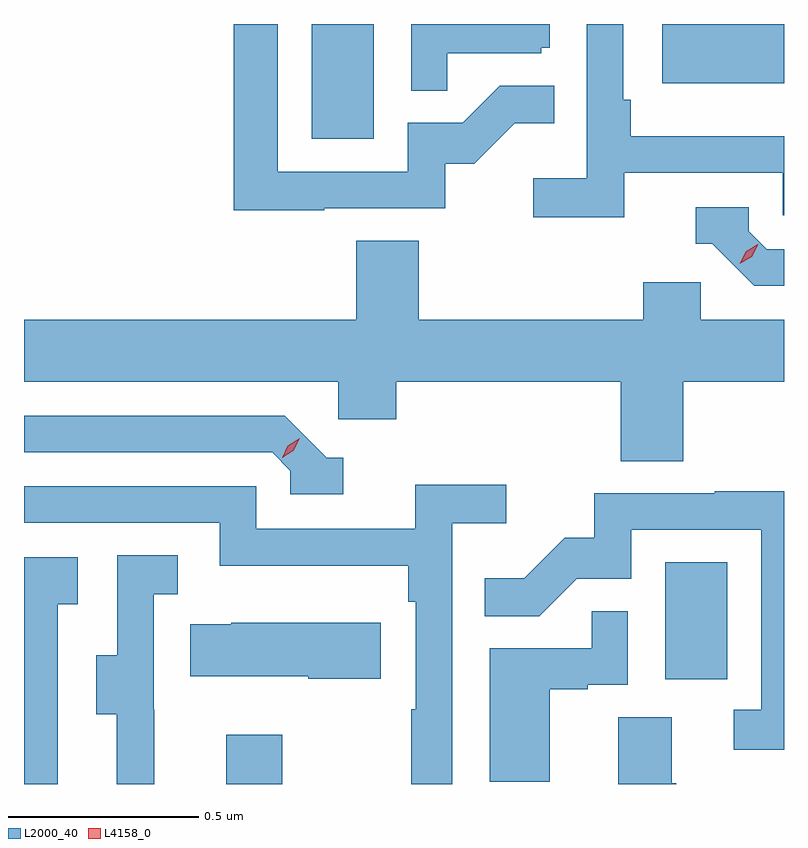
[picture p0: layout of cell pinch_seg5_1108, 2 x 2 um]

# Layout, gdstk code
import gdstk
lib = gdstk.Library(unit=1e-6, precision=1e-09)
def R(c, l, rs):  # rectangles x0, y0, x1, y1
    for r in rs: c.add(gdstk.rectangle(r[:2], r[2:], *l))
def P(c, l, *ps):  # polygons
    for p in ps: c.add(gdstk.Polygon(p, *l))
L2000_40 = (2000, 40)
L4158_0 = (4158, 0)

pinch_seg5_1108 = lib.new_cell('pinch_seg5_1108')
R(pinch_seg5_1108, L2000_40, [(868.169,865.026,868.317,865.156), (869.324,865.302,869.488,865.609), (868.394,866.724,868.558,867.026), (869.316,866.87,869.637,867.026)])
P(pinch_seg5_1108, L2000_40, [(868.751,866.949),(868.998,866.949),(868.998,866.964),(869.02,866.964),(869.02,867.026),(868.656,867.026),(868.656,866.851),(868.751,866.851)],
  [(869.216,866.634),(869.634,866.634),(869.634,866.523),(869.637,866.523),(869.637,866.731),(869.234,866.731),(869.234,866.827),(869.214,866.827),(869.214,867.026),(869.118,867.026),(869.118,866.62),(868.977,866.62),(868.977,866.518),(869.216,866.518)],
  [(868.427,866.541),(868.746,866.541),(868.746,866.658),(868.822,866.658),(868.929,866.765),(869.033,866.765),(869.033,866.864),(868.889,866.864),(868.791,866.766),(868.647,866.766),(868.647,866.637),(868.305,866.637),(868.305,867.026),(868.189,867.026),(868.189,866.536),(868.427,866.536)],
  [(869.637,866.433),(869.592,866.433),(869.544,866.481),(869.544,866.544),(869.405,866.544),(869.405,866.448),(869.448,866.448),(869.559,866.337),(869.637,866.337)],
  [(869.372,866.084),(869.637,866.084),(869.637,866.248),(869.418,866.248),(869.418,866.346),(869.267,866.346),(869.267,866.248),(868.676,866.248),(868.676,866.456),(868.511,866.456),(868.511,866.248),(867.637,866.248),(867.637,866.084),(868.464,866.084),(868.464,865.986),(868.616,865.986),(868.616,866.084),(869.207,866.084),(869.207,865.876),(869.372,865.876)],
  [(868.477,865.884),(868.434,865.884),(868.323,865.995),(867.637,865.995),(867.637,865.899),(868.29,865.899),(868.338,865.851),(868.338,865.788),(868.477,865.788)],
  [(868.764,865.712),(868.906,865.712),(868.906,865.814),(868.667,865.814),(868.667,865.698),(868.248,865.698),(868.248,865.809),(867.637,865.809),(867.637,865.713),(868.152,865.713),(868.152,865.601),(868.648,865.601),(868.648,865.505),(868.668,865.505),(868.668,865.223),(868.656,865.223),(868.656,865.026),(868.764,865.026)],
  [(869.637,865.796),(869.455,865.796),(869.455,865.791),(869.137,865.791),(869.137,865.674),(869.06,865.674),(868.953,865.567),(868.849,865.567),(868.849,865.468),(868.993,865.468),(869.091,865.566),(869.235,865.566),(869.235,865.695),(869.577,865.695),(869.577,865.221),(869.505,865.221),(869.505,865.116),(869.637,865.116)],
  [(867.98,865.221),(867.978,865.221),(867.978,865.525),(868.042,865.525),(868.042,865.628),(867.882,865.628),(867.882,865.365),(867.827,865.365),(867.827,865.21),(867.881,865.21),(867.881,865.026),(867.98,865.026)],
  [(867.726,865.499),(867.778,865.499),(867.778,865.623),(867.637,865.623),(867.637,865.026),(867.726,865.026)],
  [(869.02,865.275),(869.12,865.275),(869.12,865.287),(869.226,865.287),(869.226,865.481),(869.131,865.481),(869.131,865.383),(868.862,865.383),(868.862,865.032),(869.02,865.032)],
  [(868.576,865.45),(868.183,865.45),(868.183,865.447),(868.075,865.447),(868.075,865.31),(868.385,865.31),(868.385,865.303),(868.576,865.303)],
  [(869.354,865.028),(869.341,865.028),(869.341,865.202),(869.201,865.202),(869.201,865.026),(869.354,865.026)])
P(pinch_seg5_1108, L4158_0, [(869.521,866.395),(869.521,866.395),(869.537,866.428),(869.568,866.446),(869.569,866.446),(869.569,866.446),(869.552,866.414),(869.521,866.395)],
  [(868.316,865.884),(868.316,865.884),(868.331,865.916),(868.362,865.936),(868.362,865.936),(868.362,865.936),(868.346,865.903),(868.316,865.884)])

lib.write_gds('pinch_seg5_1108.gds')
